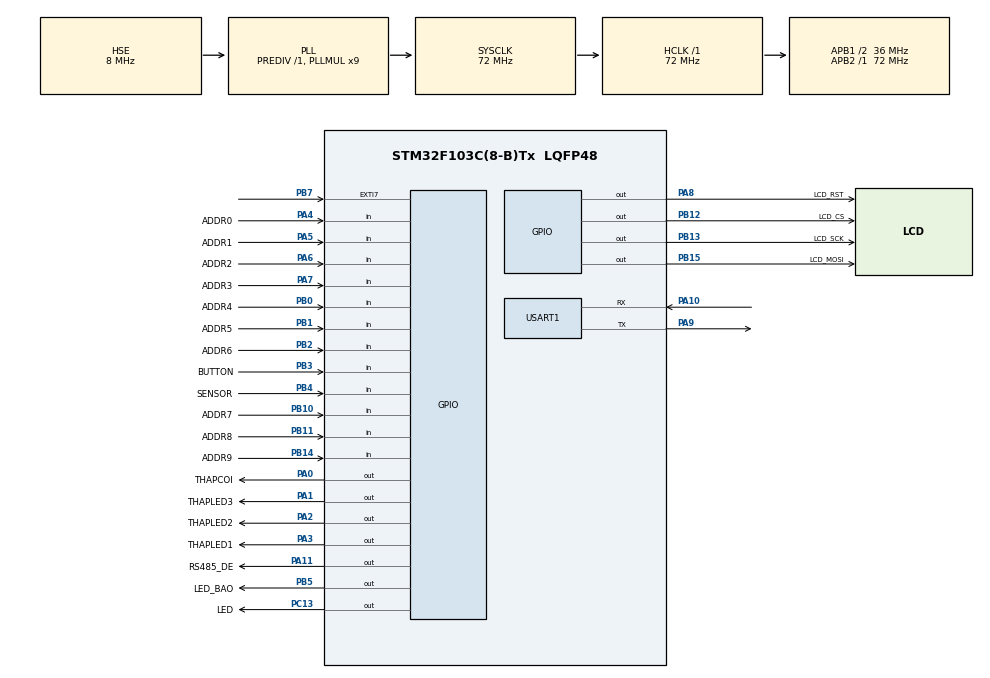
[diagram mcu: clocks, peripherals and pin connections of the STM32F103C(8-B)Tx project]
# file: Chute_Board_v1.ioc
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Mcu.Family=STM32F1
Mcu.Name=STM32F103C(8-B)Tx
Mcu.Package=LQFP48
NVIC.PriorityGroup=NVIC_PRIORITYGROUP_4
NVIC.TIM1_UP_IRQn=true\:0\:0\:false\:false\:true\:true\:true\:true
NVIC.TIM2_IRQn=true\:0\:0\:false\:false\:true\:true\:true\:true
NVIC.USART1_IRQn=true\:0\:0\:false\:false\:true\:true\:true\:true
PA0-WKUP.GPIO_Label=THAPCOI
PA0-WKUP.Signal=GPIO_Output
PA1.GPIO_Label=THAPLED3
PA1.Signal=GPIO_Output
PA10.Mode=Asynchronous
PA10.Signal=USART1_RX
PA11.GPIO_Label=RS485_DE
PA11.Signal=GPIO_Output
PA13.Mode=Serial_Wire
PA13.Signal=SYS_JTMS-SWDIO
PA14.Mode=Serial_Wire
PA14.Signal=SYS_JTCK-SWCLK
PA2.GPIO_Label=THAPLED2
PA2.Signal=GPIO_Output
PA3.GPIO_Label=THAPLED1
PA3.Signal=GPIO_Output
PA4.GPIO_Label=ADDR0
PA4.GPIO_PuPd=GPIO_PULLUP
PA4.Signal=GPIO_Input
PA5.GPIO_Label=ADDR1
PA5.GPIO_PuPd=GPIO_PULLUP
PA5.Signal=GPIO_Input
PA6.GPIO_Label=ADDR2
PA6.GPIO_PuPd=GPIO_PULLUP
PA6.Signal=GPIO_Input
PA7.GPIO_Label=ADDR3
PA7.GPIO_PuPd=GPIO_PULLUP
PA7.Signal=GPIO_Input
PA8.GPIO_Label=LCD_RST
PA8.Signal=GPIO_Output
PA9.Mode=Asynchronous
PA9.Signal=USART1_TX
PB0.GPIO_Label=ADDR4
PB0.GPIO_PuPd=GPIO_PULLUP
PB0.Signal=GPIO_Input
PB1.GPIO_Label=ADDR5
PB1.GPIO_PuPd=GPIO_PULLUP
PB1.Signal=GPIO_Input
PB10.GPIO_Label=ADDR7
PB10.GPIO_PuPd=GPIO_PULLUP
PB10.Signal=GPIO_Input
PB11.GPIO_Label=ADDR8
PB11.GPIO_PuPd=GPIO_PULLUP
PB11.Signal=GPIO_Input
PB12.GPIO_Label=LCD_CS
PB12.Signal=GPIO_Output
PB13.GPIO_Label=LCD_SCK
PB13.Signal=GPIO_Output
PB14.GPIO_Label=ADDR9
PB14.GPIO_PuPd=GPIO_PULLUP
PB14.Signal=GPIO_Input
PB15.GPIO_Label=LCD_MOSI
PB15.Signal=GPIO_Output
PB2.GPIO_Label=ADDR6
PB2.GPIO_PuPd=GPIO_PULLUP
PB2.Signal=GPIO_Input
PB3.GPIO_Label=BUTTON
PB3.GPIO_PuPd=GPIO_PULLUP
PB3.Signal=GPIO_Input
PB4.GPIO_Label=SENSOR
PB4.Signal=GPIO_Input
PB5.GPIO_Label=LED_BAO
PB5.Signal=GPIO_Output
PB7.Signal=GPXTI7
PC13-TAMPER-RTC.GPIO_Label=LED
PC13-TAMPER-RTC.Signal=GPIO_Output
PD0-OSC_IN.Mode=HSE-External-Oscillator
PD0-OSC_IN.Signal=RCC_OSC_IN
PD1-OSC_OUT.Mode=HSE-External-Oscillator
PD1-OSC_OUT.Signal=RCC_OSC_OUT
ProjectManager.HeapSize=0x200
ProjectManager.StackSize=0x400
ProjectManager.TargetToolchain=MDK-ARM V5.32
RCC.AHBFreq_Value=72000000
RCC.APB1CLKDivider=RCC_HCLK_DIV2
RCC.APB1Freq_Value=36000000
RCC.APB1TimFreq_Value=72000000
RCC.APB2Freq_Value=72000000
RCC.APB2TimFreq_Value=72000000
RCC.HCLKFreq_Value=72000000
RCC.PLLMUL=RCC_PLL_MUL9
RCC.PLLSourceVirtual=RCC_PLLSOURCE_HSE
RCC.SYSCLKFreq_VALUE=72000000
RCC.SYSCLKSource=RCC_SYSCLKSOURCE_PLLCLK
RCC.USBFreq_Value=72000000
TIM1.Prescaler=71
TIM2.Period=999
TIM2.Prescaler=71
USART1.VirtualMode=VM_ASYNC
VP_TIM1_VS_ClockSourceINT.Mode=Internal
VP_TIM2_VS_ClockSourceINT.Mode=Internal
board=custom

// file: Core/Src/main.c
/* USER CODE BEGIN Header */
/**
  ******************************************************************************
  * @file           : main.c
  * @brief          : Main program body
  ******************************************************************************
  * @attention
  *
  * Copyright (c) 2024 STMicroelectronics.
  * All rights reserved.
  *
  * This software is licensed under terms that can be found in the LICENSE file
  * in the root directory of this software component.
  * If no LICENSE file comes with this software, it is provided AS-IS.
  *
  ******************************************************************************
  */
/* USER CODE END Header */
#include "main.h"

/* USER CODE BEGIN Includes */
	#include <string.h>
	#include <stdio.h>
	#include <stdlib.h>
	#include <stdbool.h>

	#include "st7920.h"
	#include "rs485.h"
	#include "user.h"
/* USER CODE END Includes */

TIM_HandleTypeDef htim1;
TIM_HandleTypeDef htim2;

UART_HandleTypeDef huart1;

/* USER CODE BEGIN PV */
	char str_temp[LCD_SIZE_ROW];

/* USER CODE END PV */

void SystemClock_Config(void);
static void MX_GPIO_Init(void);
static void MX_TIM1_Init(void);
static void MX_USART1_UART_Init(void);
static void MX_TIM2_Init(void);

int main(void)
{

  /* MCU Configuration--------------------------------------------------------*/

  /* Reset of all peripherals, Initializes the Flash interface and the Systick. */
  HAL_Init();

  /* Configure the system clock */
  SystemClock_Config();

  /* Initialize all configured peripherals */
  MX_GPIO_Init();
  MX_TIM1_Init();
  MX_USART1_UART_Init();
  MX_TIM2_Init();
  /* USER CODE BEGIN 2 */
		HAL_GPIO_WritePin(LED_GPIO_Port, LED_Pin, GPIO_PIN_SET);

		RS485_Init(&vRS485, &huart1);

		/*INit LCD Display*/
		HAL_TIM_Base_Start_IT(&htim1);
		ST7920_Init();

		ST7920_GraphicMode(1);
		ST7920_DrawBitmap(viettel_post);

		HAL_Delay(2000);

		ST7920_GraphicMode(0);
		ST7920_Clear();

		sprintf((char*)ROW0, "XIN CHAO");
		sprintf((char*)ROW1, "MACH MANG");
		sprintf((char*)ROW2, "ID: %d", vRS485.ID_Board);
		sprintf((char*)ROW3, "VIETTEL POST");

		ST7920_SendString(3, 0, (char*)ROW3);
		ST7920_SendString(2, 0, (char*)ROW2);
		ST7920_SendString(1, 0, (char*)ROW1);
		ST7920_SendString(0, 0, (char*)ROW0);

		HAL_Delay(2000);

		HAL_TIM_Base_Start_IT(&htim2);
		HAL_UART_Receive_IT(&huart1, &vRS485.rxByte, 1);
		HAL_GPIO_WritePin(RS485_DE_GPIO_Port, RS485_DE_Pin, GPIO_PIN_RESET);

		HAL_GPIO_WritePin(LED_GPIO_Port, LED_Pin, GPIO_PIN_RESET);

  /* USER CODE END 2 */

  /* Infinite loop */
  while (1)
  {

    /* USER CODE BEGIN 3 */
	/*----------------------------------------------------*/
		Process_Chute();

	/*----------------------------------------------------*/
		//UartRx_Handle(&vRS485);
		UartTx_Transmit(&vRS485);

	/*----------------------------------------------------*/
		Display_LCD(CYCLE_LCD);

	/*----------------------------------------------------*/
		BlinkLed_Debug();

	/*----------------------------------------------------*/

	/*----------------------------------------------------*/
  }
  /* USER CODE END 3 */
}

void SystemClock_Config(void)
{
  RCC_OscInitTypeDef RCC_OscInitStruct = {0};
  RCC_ClkInitTypeDef RCC_ClkInitStruct = {0};

  /** Initializes the RCC Oscillators according to the specified parameters
  * in the RCC_OscInitTypeDef structure.
  */
  RCC_OscInitStruct.OscillatorType = RCC_OSCILLATORTYPE_HSE;
  RCC_OscInitStruct.HSEState = RCC_HSE_ON;
  RCC_OscInitStruct.HSEPredivValue = RCC_HSE_PREDIV_DIV1;
  RCC_OscInitStruct.HSIState = RCC_HSI_ON;
  RCC_OscInitStruct.PLL.PLLState = RCC_PLL_ON;
  RCC_OscInitStruct.PLL.PLLSource = RCC_PLLSOURCE_HSE;
  RCC_OscInitStruct.PLL.PLLMUL = RCC_PLL_MUL9;
  if (HAL_RCC_OscConfig(&RCC_OscInitStruct) != HAL_OK)
  {
    Error_Handler();
  }

  /** Initializes the CPU, AHB and APB buses clocks
  */
  RCC_ClkInitStruct.ClockType = RCC_CLOCKTYPE_HCLK|RCC_CLOCKTYPE_SYSCLK
                              |RCC_CLOCKTYPE_PCLK1|RCC_CLOCKTYPE_PCLK2;
  RCC_ClkInitStruct.SYSCLKSource = RCC_SYSCLKSOURCE_PLLCLK;
  RCC_ClkInitStruct.AHBCLKDivider = RCC_SYSCLK_DIV1;
  RCC_ClkInitStruct.APB1CLKDivider = RCC_HCLK_DIV2;
  RCC_ClkInitStruct.APB2CLKDivider = RCC_HCLK_DIV1;

  if (HAL_RCC_ClockConfig(&RCC_ClkInitStruct, FLASH_LATENCY_2) != HAL_OK)
  {
    Error_Handler();
  }
}

static void MX_TIM1_Init(void)
{

  TIM_ClockConfigTypeDef sClockSourceConfig = {0};
  TIM_MasterConfigTypeDef sMasterConfig = {0};

  htim1.Instance = TIM1;
  htim1.Init.Prescaler = 71;
  htim1.Init.CounterMode = TIM_COUNTERMODE_UP;
  htim1.Init.Period = 65535;
  htim1.Init.ClockDivision = TIM_CLOCKDIVISION_DIV1;
  htim1.Init.RepetitionCounter = 0;
  htim1.Init.AutoReloadPreload = TIM_AUTORELOAD_PRELOAD_DISABLE;
  if (HAL_TIM_Base_Init(&htim1) != HAL_OK)
  {
    Error_Handler();
  }
  sClockSourceConfig.ClockSource = TIM_CLOCKSOURCE_INTERNAL;
  if (HAL_TIM_ConfigClockSource(&htim1, &sClockSourceConfig) != HAL_OK)
  {
    Error_Handler();
  }
  sMasterConfig.MasterOutputTrigger = TIM_TRGO_RESET;
  sMasterConfig.MasterSlaveMode = TIM_MASTERSLAVEMODE_DISABLE;
  if (HAL_TIMEx_MasterConfigSynchronization(&htim1, &sMasterConfig) != HAL_OK)
  {
    Error_Handler();
  }

}

static void MX_TIM2_Init(void)
{

  TIM_ClockConfigTypeDef sClockSourceConfig = {0};
  TIM_MasterConfigTypeDef sMasterConfig = {0};

  htim2.Instance = TIM2;
  htim2.Init.Prescaler = 71;
  htim2.Init.CounterMode = TIM_COUNTERMODE_UP;
  htim2.Init.Period = 999;
  htim2.Init.ClockDivision = TIM_CLOCKDIVISION_DIV1;
  htim2.Init.AutoReloadPreload = TIM_AUTORELOAD_PRELOAD_DISABLE;
  if (HAL_TIM_Base_Init(&htim2) != HAL_OK)
  {
    Error_Handler();
  }
  sClockSourceConfig.ClockSource = TIM_CLOCKSOURCE_INTERNAL;
  if (HAL_TIM_ConfigClockSource(&htim2, &sClockSourceConfig) != HAL_OK)
  {
    Error_Handler();
  }
  sMasterConfig.MasterOutputTrigger = TIM_TRGO_RESET;
  sMasterConfig.MasterSlaveMode = TIM_MASTERSLAVEMODE_DISABLE;
  if (HAL_TIMEx_MasterConfigSynchronization(&htim2, &sMasterConfig) != HAL_OK)
  {
    Error_Handler();
  }

}

static void MX_USART1_UART_Init(void)
{

  huart1.Instance = USART1;
  huart1.Init.BaudRate = 9600;
  huart1.Init.WordLength = UART_WORDLENGTH_8B;
  huart1.Init.StopBits = UART_STOPBITS_1;
  huart1.Init.Parity = UART_PARITY_NONE;
  huart1.Init.Mode = UART_MODE_TX_RX;
  huart1.Init.HwFlowCtl = UART_HWCONTROL_NONE;
  huart1.Init.OverSampling = UART_OVERSAMPLING_16;
  if (HAL_UART_Init(&huart1) != HAL_OK)
  {
    Error_Handler();
  }

}

static void MX_GPIO_Init(void)
{
  GPIO_InitTypeDef GPIO_InitStruct = {0};

  /* GPIO Ports Clock Enable */
  __HAL_RCC_GPIOC_CLK_ENABLE();
  __HAL_RCC_GPIOD_CLK_ENABLE();
  __HAL_RCC_GPIOA_CLK_ENABLE();
  __HAL_RCC_GPIOB_CLK_ENABLE();

  /*Configure GPIO pin Output Level */
  HAL_GPIO_WritePin(LED_GPIO_Port, LED_Pin, GPIO_PIN_RESET);

  /*Configure GPIO pin Output Level */
  HAL_GPIO_WritePin(GPIOA, THAPCOI_Pin|THAPLED3_Pin|THAPLED2_Pin|THAPLED1_Pin
                          |LCD_RST_Pin|RS485_DE_Pin, GPIO_PIN_RESET);

  /*Configure GPIO pin Output Level */
  HAL_GPIO_WritePin(GPIOB, LCD_CS_Pin|LCD_SCK_Pin|LCD_MOSI_Pin|LED_BAO_Pin, GPIO_PIN_RESET);

  /*Configure GPIO pin : LED_Pin */
  GPIO_InitStruct.Pin = LED_Pin;
  GPIO_InitStruct.Mode = GPIO_MODE_OUTPUT_PP;
  GPIO_InitStruct.Pull = GPIO_NOPULL;
  GPIO_InitStruct.Speed = GPIO_SPEED_FREQ_LOW;
  HAL_GPIO_Init(LED_GPIO_Port, &GPIO_InitStruct);

  /*Configure GPIO pins : THAPCOI_Pin THAPLED3_Pin THAPLED2_Pin THAPLED1_Pin
                           LCD_RST_Pin RS485_DE_Pin */
  GPIO_InitStruct.Pin = THAPCOI_Pin|THAPLED3_Pin|THAPLED2_Pin|THAPLED1_Pin
                          |LCD_RST_Pin|RS485_DE_Pin;
  GPIO_InitStruct.Mode = GPIO_MODE_OUTPUT_PP;
  GPIO_InitStruct.Pull = GPIO_NOPULL;
  GPIO_InitStruct.Speed = GPIO_SPEED_FREQ_LOW;
  HAL_GPIO_Init(GPIOA, &GPIO_InitStruct);

  /*Configure GPIO pins : ADDR0_Pin ADDR1_Pin ADDR2_Pin ADDR3_Pin */
  GPIO_InitStruct.Pin = ADDR0_Pin|ADDR1_Pin|ADDR2_Pin|ADDR3_Pin;
  GPIO_InitStruct.Mode = GPIO_MODE_INPUT;
  GPIO_InitStruct.Pull = GPIO_PULLUP;
  HAL_GPIO_Init(GPIOA, &GPIO_InitStruct);

  /*Configure GPIO pins : ADDR4_Pin ADDR5_Pin ADDR6_Pin ADDR7_Pin
                           ADDR8_Pin ADDR9_Pin BUTTON_Pin */
  GPIO_InitStruct.Pin = ADDR4_Pin|ADDR5_Pin|ADDR6_Pin|ADDR7_Pin
                          |ADDR8_Pin|ADDR9_Pin|BUTTON_Pin;
  GPIO_InitStruct.Mode = GPIO_MODE_INPUT;
  GPIO_InitStruct.Pull = GPIO_PULLUP;
  HAL_GPIO_Init(GPIOB, &GPIO_InitStruct);

  /*Configure GPIO pins : LCD_CS_Pin LCD_SCK_Pin LCD_MOSI_Pin LED_BAO_Pin */
  GPIO_InitStruct.Pin = LCD_CS_Pin|LCD_SCK_Pin|LCD_MOSI_Pin|LED_BAO_Pin;
  GPIO_InitStruct.Mode = GPIO_MODE_OUTPUT_PP;
  GPIO_InitStruct.Pull = GPIO_NOPULL;
  GPIO_InitStruct.Speed = GPIO_SPEED_FREQ_LOW;
  HAL_GPIO_Init(GPIOB, &GPIO_InitStruct);

  /*Configure GPIO pin : SENSOR_Pin */
  GPIO_InitStruct.Pin = SENSOR_Pin;
  GPIO_InitStruct.Mode = GPIO_MODE_INPUT;
  GPIO_InitStruct.Pull = GPIO_NOPULL;
  HAL_GPIO_Init(SENSOR_GPIO_Port, &GPIO_InitStruct);

  /*Configure GPIO pin : PB7 */
  GPIO_InitStruct.Pin = GPIO_PIN_7;
  GPIO_InitStruct.Mode = GPIO_MODE_IT_RISING;
  GPIO_InitStruct.Pull = GPIO_NOPULL;
  HAL_GPIO_Init(GPIOB, &GPIO_InitStruct);

}

void Error_Handler(void)
{
  __disable_irq();
  while (1)
  {
  }
}
